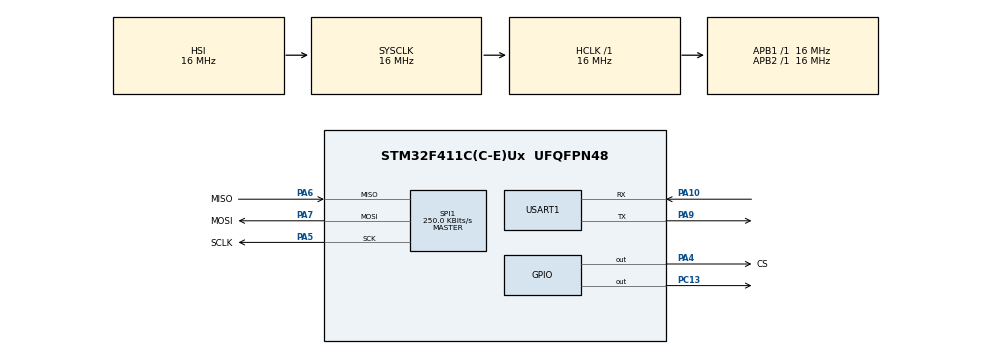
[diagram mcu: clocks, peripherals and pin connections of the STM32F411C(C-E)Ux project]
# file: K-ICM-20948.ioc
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Mcu.Family=STM32F4
Mcu.Name=STM32F411C(C-E)Ux
Mcu.Package=UFQFPN48
NVIC.PriorityGroup=NVIC_PRIORITYGROUP_4
NVIC.SPI1_IRQn=true\:0\:0\:false\:false\:true\:true\:true\:true
NVIC.USART1_IRQn=true\:0\:0\:false\:false\:true\:true\:true\:true
PA10.Mode=Asynchronous
PA10.Signal=USART1_RX
PA13.Mode=Serial_Wire
PA13.Signal=SYS_JTMS-SWDIO
PA14.Mode=Serial_Wire
PA14.Signal=SYS_JTCK-SWCLK
PA4.GPIO_Label=CS
PA4.GPIO_Speed=GPIO_SPEED_FREQ_HIGH
PA4.Signal=GPIO_Output
PA5.GPIO_Label=SCLK
PA5.Mode=Full_Duplex_Master
PA5.Signal=SPI1_SCK
PA6.GPIO_Label=MISO
PA6.Mode=Full_Duplex_Master
PA6.Signal=SPI1_MISO
PA7.GPIO_Label=MOSI
PA7.Mode=Full_Duplex_Master
PA7.Signal=SPI1_MOSI
PA9.Mode=Asynchronous
PA9.Signal=USART1_TX
PC13-ANTI_TAMP.GPIO_PuPd=GPIO_PULLDOWN
PC13-ANTI_TAMP.Signal=GPIO_Output
ProjectManager.HeapSize=0x200
ProjectManager.StackSize=0x400
ProjectManager.TargetToolchain=STM32CubeIDE
RCC.AHBFreq_Value=16000000
RCC.APB1Freq_Value=16000000
RCC.APB2Freq_Value=16000000
RCC.CortexFreq_Value=16000000
RCC.HSE_VALUE=25000000
RCC.HSI_VALUE=16000000
RCC.LSE_VALUE=32768
RCC.SYSCLKFreq_VALUE=16000000
RCC.VCOOutputFreq_Value=192000000
SPI1.BaudRatePrescaler=SPI_BAUDRATEPRESCALER_64
SPI1.CLKPhase=SPI_PHASE_1EDGE
SPI1.CLKPolarity=SPI_POLARITY_LOW
SPI1.CalculateBaudRate=250.0 KBits/s
SPI1.Direction=SPI_DIRECTION_2LINES
SPI1.Mode=SPI_MODE_MASTER
SPI1.VirtualType=VM_MASTER
USART1.VirtualMode=VM_ASYNC
board=custom

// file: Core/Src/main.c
/* USER CODE BEGIN Header */
/**
  ******************************************************************************
  * @file           : main.c
  * @brief          : Main program body
  ******************************************************************************
  * @attention
  *
  * Copyright (c) 2025 STMicroelectronics.
  * All rights reserved.
  *
  * This software is licensed under terms that can be found in the LICENSE file
  * in the root directory of this software component.
  * If no LICENSE file comes with this software, it is provided AS-IS.
  *
  ******************************************************************************
  */
/* USER CODE END Header */
#include "main.h"

/* USER CODE BEGIN Includes */
#include "icm_spi.h"
#include <stdio.h>
#include <string.h>
#include "kalman_filter.h"
#include "AK09916.h"
#include "angle.h"
/* USER CODE END Includes */

SPI_HandleTypeDef hspi1;

UART_HandleTypeDef huart1;

/* USER CODE BEGIN PV */
ICM20948_t icm;
AK09916_Data_t mag;
ICM20948_Data_t data;
uint16_t count;
Filter_Data_t filt;
Filter_Data_t  offset;
ICM_Angle_t angle;   // Cấu trúc lưu góc nghiêng
uint32_t lastTick = 0;   // Dùng để tính dt
/* USER CODE END PV */

void SystemClock_Config(void);
static void MX_GPIO_Init(void);
static void MX_SPI1_Init(void);
static void MX_USART1_UART_Init(void);

/* USER CODE BEGIN 0 */
int _write(int file, char *ptr, int len)
{
    HAL_UART_Transmit(&huart1, (uint8_t*)ptr, len, HAL_MAX_DELAY);
    return len;
}

void Read_Angle(ICM_Angle_t *imu_angle, Filter_Data_t *out)
{
    // --- 1. Quy đổi dữ liệu thô ---
    imu_angle->Ax = out->accel[0] ;   // 16g => 2048 LSB/g
    imu_angle->Ay = out->accel[1] ;
    imu_angle->Az = out->accel[2] ;

    imu_angle->Gx = out->gyro[0] ;      // 2000 dps => 16.4 LSB/(°/s)
    imu_angle->Gy = out->gyro[1] ;
    imu_angle->Gz = out->gyro[2] ;

    // --- 2. Tính thời gian trôi ---
    static uint32_t lastTick = 0;  // Dùng static để giữ giá trị qua các lần gọi
    uint32_t now = HAL_GetTick();
    float dt = (now - lastTick) / 1000.0f; // từ ms sang s
    lastTick = now;

    // Tránh lỗi dt=0 ở lần đầu
    if (dt <= 0.0f || dt > 0.5f) dt = 0.01f;

    // --- 3. Cập nhật góc ---
    ICM20948_UpdateAngle(imu_angle, dt);

    // --- 4. In ra kiểm tra ---
    printf("Roll: %.2f | Pitch: %.2f | dt=%.3f s\r\n",
           imu_angle->roll, imu_angle->pitch, dt);
}

/* USER CODE END 0 */

int main(void)
{

  /* MCU Configuration--------------------------------------------------------*/

  /* Reset of all peripherals, Initializes the Flash interface and the Systick. */
  HAL_Init();

  /* Configure the system clock */
  SystemClock_Config();

  /* Initialize all configured peripherals */
  MX_GPIO_Init();
  MX_SPI1_Init();
  MX_USART1_UART_Init();
  /* USER CODE BEGIN 2 */
  icm.hspi = &hspi1;
  icm.huart = &huart1;
  icm.cs_port = GPIOA;
  icm.cs_pin = GPIO_PIN_4;

  ICM20948_Init(&icm);
  ICM20948_EnableFIFO(&icm);
  AK09916_Init(&icm);
  AK09916_SetContinuousMode(&icm);

  ICM20948_AutoCalibrate(&icm, &data, &filt, &offset, 200); // lấy 500 mẫu

  angle.roll  = 0.0f;
  angle.pitch = 0.0f;
  lastTick = HAL_GetTick();
  /* USER CODE END 2 */

  /* Infinite loop */
  /* USER CODE BEGIN WHILE */
  while (1)
  {
	  ICM20948_ReadFIFO(&icm, &data, &filt);
/*	  printf("FIFO: Gx:%d    Gy:%d    Gz:%d    | Ax:%d    Ay:%d    Az:%d    |\r\n",

	  	           data.gyro[0], data.gyro[1], data.gyro[2],
	  	           data.accel[0], data.accel[1], data.accel[2]
	  	          );
	  printf("Fitl: Gx:%.2f Gy:%.2f Gz:%.2f | Ax:%.2f Ay:%.2f Az:%.2f |\r\n",
			  filt.gyro[0], filt.gyro[1], filt.gyro[2],
			  filt.accel[0], filt.accel[1], filt.accel[2]
					);*/
	  ICM20948_ApplyCalibration(&filt, &offset );
/*	  printf(" 2nd: Gx: %.2f | Gy: %.2f | Gz: %.2f | Ax: %.2f | Ay: %.2f | Az: %.2f |\r\n", filt.gyro[0],filt.gyro[1],filt.gyro[2], filt.accel[0], filt.accel[1], filt.accel[2]);*/
/*	  ICM20948_Read_All(&icm);*/
/*	  AK09916_ReadMagData(&icm, &mag);*/
	  Read_Angle(&angle, &filt);
	  HAL_Delay(250);

    /* USER CODE END WHILE */

  }
}

void SystemClock_Config(void)
{
  RCC_OscInitTypeDef RCC_OscInitStruct = {0};
  RCC_ClkInitTypeDef RCC_ClkInitStruct = {0};

  /** Configure the main internal regulator output voltage
  */
  __HAL_RCC_PWR_CLK_ENABLE();
  __HAL_PWR_VOLTAGESCALING_CONFIG(PWR_REGULATOR_VOLTAGE_SCALE1);

  /** Initializes the RCC Oscillators according to the specified parameters
  * in the RCC_OscInitTypeDef structure.
  */
  RCC_OscInitStruct.OscillatorType = RCC_OSCILLATORTYPE_HSI;
  RCC_OscInitStruct.HSIState = RCC_HSI_ON;
  RCC_OscInitStruct.HSICalibrationValue = RCC_HSICALIBRATION_DEFAULT;
  RCC_OscInitStruct.PLL.PLLState = RCC_PLL_NONE;
  if (HAL_RCC_OscConfig(&RCC_OscInitStruct) != HAL_OK)
  {
    Error_Handler();
  }

  /** Initializes the CPU, AHB and APB buses clocks
  */
  RCC_ClkInitStruct.ClockType = RCC_CLOCKTYPE_HCLK|RCC_CLOCKTYPE_SYSCLK
                              |RCC_CLOCKTYPE_PCLK1|RCC_CLOCKTYPE_PCLK2;
  RCC_ClkInitStruct.SYSCLKSource = RCC_SYSCLKSOURCE_HSI;
  RCC_ClkInitStruct.AHBCLKDivider = RCC_SYSCLK_DIV1;
  RCC_ClkInitStruct.APB1CLKDivider = RCC_HCLK_DIV1;
  RCC_ClkInitStruct.APB2CLKDivider = RCC_HCLK_DIV1;

  if (HAL_RCC_ClockConfig(&RCC_ClkInitStruct, FLASH_LATENCY_0) != HAL_OK)
  {
    Error_Handler();
  }
}

static void MX_SPI1_Init(void)
{

  /* SPI1 parameter configuration*/
  hspi1.Instance = SPI1;
  hspi1.Init.Mode = SPI_MODE_MASTER;
  hspi1.Init.Direction = SPI_DIRECTION_2LINES;
  hspi1.Init.DataSize = SPI_DATASIZE_8BIT;
  hspi1.Init.CLKPolarity = SPI_POLARITY_HIGH;
  hspi1.Init.CLKPhase = SPI_PHASE_2EDGE;
  hspi1.Init.NSS = SPI_NSS_SOFT;
  hspi1.Init.BaudRatePrescaler = SPI_BAUDRATEPRESCALER_64;
  hspi1.Init.FirstBit = SPI_FIRSTBIT_MSB;
  hspi1.Init.TIMode = SPI_TIMODE_DISABLE;
  hspi1.Init.CRCCalculation = SPI_CRCCALCULATION_DISABLE;
  hspi1.Init.CRCPolynomial = 10;
  if (HAL_SPI_Init(&hspi1) != HAL_OK)
  {
    Error_Handler();
  }

}

static void MX_USART1_UART_Init(void)
{

  huart1.Instance = USART1;
  huart1.Init.BaudRate = 115200;
  huart1.Init.WordLength = UART_WORDLENGTH_8B;
  huart1.Init.StopBits = UART_STOPBITS_1;
  huart1.Init.Parity = UART_PARITY_NONE;
  huart1.Init.Mode = UART_MODE_TX_RX;
  huart1.Init.HwFlowCtl = UART_HWCONTROL_NONE;
  huart1.Init.OverSampling = UART_OVERSAMPLING_16;
  if (HAL_UART_Init(&huart1) != HAL_OK)
  {
    Error_Handler();
  }

}

static void MX_GPIO_Init(void)
{
  GPIO_InitTypeDef GPIO_InitStruct = {0};

  /* GPIO Ports Clock Enable */
  __HAL_RCC_GPIOC_CLK_ENABLE();
  __HAL_RCC_GPIOA_CLK_ENABLE();

  /*Configure GPIO pin Output Level */
  HAL_GPIO_WritePin(GPIOC, GPIO_PIN_13, GPIO_PIN_RESET);

  /*Configure GPIO pin Output Level */
  HAL_GPIO_WritePin(CS_GPIO_Port, CS_Pin, GPIO_PIN_RESET);

  /*Configure GPIO pin : PC13 */
  GPIO_InitStruct.Pin = GPIO_PIN_13;
  GPIO_InitStruct.Mode = GPIO_MODE_OUTPUT_PP;
  GPIO_InitStruct.Pull = GPIO_PULLDOWN;
  GPIO_InitStruct.Speed = GPIO_SPEED_FREQ_LOW;
  HAL_GPIO_Init(GPIOC, &GPIO_InitStruct);

  /*Configure GPIO pin : CS_Pin */
  GPIO_InitStruct.Pin = CS_Pin;
  GPIO_InitStruct.Mode = GPIO_MODE_OUTPUT_PP;
  GPIO_InitStruct.Pull = GPIO_NOPULL;
  GPIO_InitStruct.Speed = GPIO_SPEED_FREQ_HIGH;
  HAL_GPIO_Init(CS_GPIO_Port, &GPIO_InitStruct);

}

void Error_Handler(void)
{
  __disable_irq();
  while (1)
  {
  }
}
